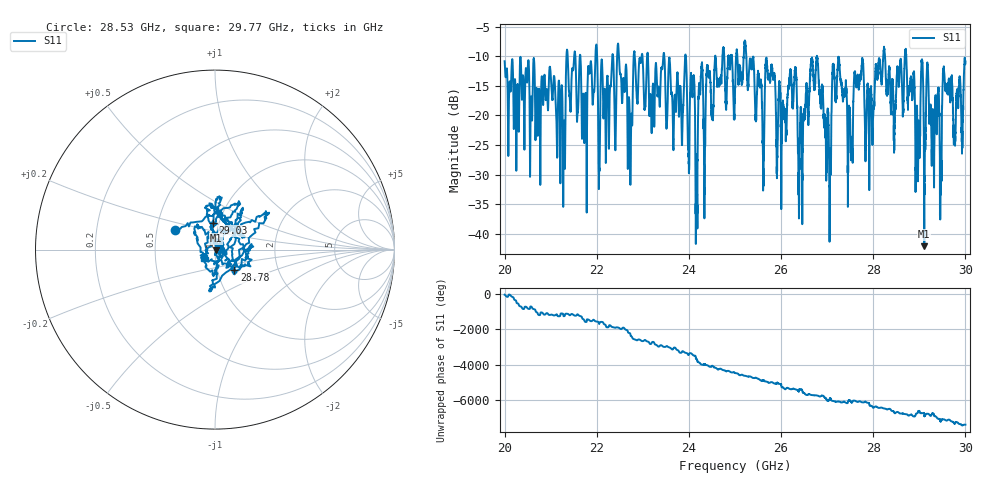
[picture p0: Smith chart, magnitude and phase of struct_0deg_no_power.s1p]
#  HZ  S  RI  R  50.00
! Rohde & Schwarz ZVA40 4Ports - Version 3.90 - 1145.1110k42 SN: 100403
! Date: 2023-09-28 07:45:21
! Measurement: S22
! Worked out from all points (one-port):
!   5001 points, 20 GHz to 30 GHz, reference 50 ohm
!   lowest |S11| = -42.1 dB at 29.11 GHz (marker M1), VSWR 1.02, Z = 50.6 - j0.468 ohm
!   |S11| at or under -10 dB: start of sweep to 21.34 GHz; 25.24 GHz to 26.78 GHz (1.532 GHz wide, 5.89 % of centre); 26.78 GHz to 28.22 GHz (1.439 GHz wide, 5.23 % of centre)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
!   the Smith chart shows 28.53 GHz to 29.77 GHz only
!   S11 on the Smith chart (normalised r, x): 28.53 GHz: 0.63, +0.15; 28.78 GHz: 1.21, -0.28; 29.03 GHz: 0.94, +0.28; 29.77 GHz: 0.88, -0.08
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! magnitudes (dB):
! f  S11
! 20 GHz  -10.9
! 21.25 GHz  -16.3
! 21.5 GHz  -11.2
! 21.74 GHz  -19.4
! 22.5 GHz  -12.6
! 22.72 GHz  -20.8
! 22.96 GHz  -11.0
! 23.75 GHz  -12.7
! 24.08 GHz  -15.6
! 24.17 GHz  -30.5
! 24.26 GHz  -13.9
! 25 GHz  -15.9
! 26.25 GHz  -18.4
! 26.42 GHz  -20.4
! 26.67 GHz  -10.5
! 27.03 GHz  -21.6
! 27.26 GHz  -10.5
! 27.5 GHz  -20.8
! 27.74 GHz  -12.3
! 27.87 GHz  -14.9
! 28.53 GHz  -12.2
! 28.75 GHz  -18.0
! 28.78 GHz  -16.1
! 28.96 GHz  -24.4
! 29.03 GHz  -16.6
! 29.11 GHz  -42.1
! 29.77 GHz  -22.3
! 30 GHz  -10.9
